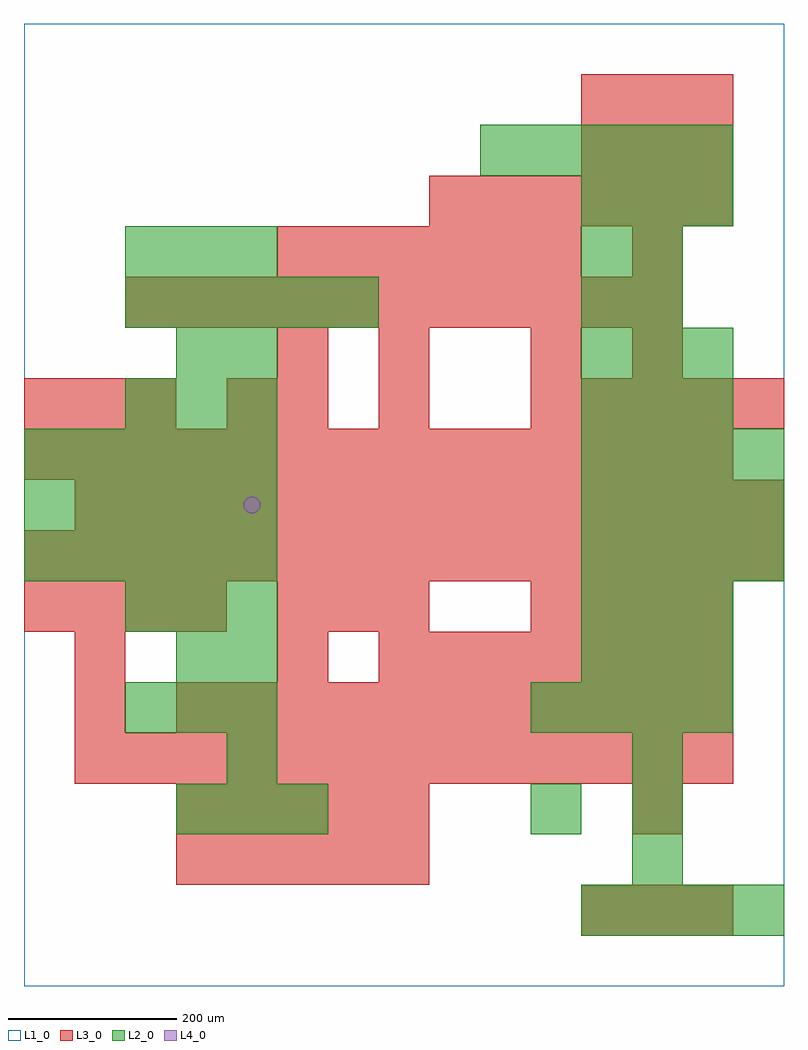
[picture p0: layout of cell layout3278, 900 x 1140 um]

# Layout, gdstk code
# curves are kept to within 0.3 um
import gdstk
lib = gdstk.Library(unit=1e-6, precision=1e-09)
def R(c, l, rs):  # rectangles x0, y0, x1, y1
    for r in rs: c.add(gdstk.rectangle(r[:2], r[2:], *l))
def A(c, l, x, y, w, h, nx, ny, dx, dy):  # array of equal rectangles
    R(c, l, [(x+i*dx, y+j*dy, x+i*dx+w, y+j*dy+h) for i in range(nx) for j in range(ny)])
def P(c, l, *ps):  # polygons
    for p in ps: c.add(gdstk.Polygon(p, *l))
L1_0 = (1, 0)
L2_0 = (2, 0)
L3_0 = (3, 0)
L4_0 = (4, 0)

layout3278 = lib.new_cell('layout3278')
R(layout3278, L1_0, [(0,0,900,1140)])
A(layout3278, L2_0, 660, 60, 60, 60, 4, 2, 60, 420)
A(layout3278, L2_0, 720, 120, 60, 60, 1, 3, 0, 60)
A(layout3278, L2_0, 180, 180, 60, 60, 3, 1, 60, 0)
A(layout3278, L2_0, 120, 300, 60, 60, 3, 2, 60, 120)
A(layout3278, L2_0, 600, 300, 60, 60, 4, 1, 60, 0)
A(layout3278, L2_0, 660, 360, 60, 60, 3, 2, 60, 60)
A(layout3278, L2_0, 0, 480, 60, 60, 5, 3, 60, 60)
A(layout3278, L2_0, 660, 540, 60, 60, 4, 2, 60, 60)
A(layout3278, L2_0, 120, 660, 60, 60, 3, 2, 60, 180)
A(layout3278, L2_0, 660, 660, 60, 60, 3, 2, 60, 60)
A(layout3278, L2_0, 120, 780, 60, 60, 5, 1, 60, 0)
A(layout3278, L2_0, 660, 900, 60, 60, 3, 1, 60, 0)
A(layout3278, L2_0, 540, 960, 60, 60, 5, 1, 60, 0)
R(layout3278, L2_0, [(600,180,660,240), (240,240,300,300), (180,360,240,420), (240,360,300,420), (180,720,240,780), (240,720,300,780), (660,780,720,840), (720,780,780,840), (660,840,720,900), (720,840,780,900)])
A(layout3278, L3_0, 660, 60, 60, 60, 3, 2, 60, 900)
A(layout3278, L3_0, 180, 120, 60, 60, 5, 2, 60, 60)
A(layout3278, L3_0, 60, 240, 60, 60, 13, 1, 60, 0)
A(layout3278, L3_0, 180, 300, 60, 60, 11, 1, 60, 0)
A(layout3278, L3_0, 420, 360, 60, 60, 7, 1, 60, 0)
A(layout3278, L3_0, 0, 420, 60, 60, 4, 1, 60, 0)
A(layout3278, L3_0, 300, 420, 60, 60, 3, 1, 60, 0)
A(layout3278, L3_0, 600, 420, 60, 60, 4, 1, 60, 0)
A(layout3278, L3_0, 0, 480, 60, 60, 15, 1, 60, 0)
A(layout3278, L3_0, 60, 540, 60, 60, 14, 1, 60, 0)
A(layout3278, L3_0, 0, 600, 60, 60, 14, 1, 60, 0)
A(layout3278, L3_0, 0, 660, 60, 60, 3, 1, 60, 0)
A(layout3278, L3_0, 600, 660, 60, 60, 5, 1, 60, 0)
A(layout3278, L3_0, 120, 780, 60, 60, 11, 1, 60, 0)
A(layout3278, L3_0, 300, 840, 60, 60, 6, 1, 60, 0)
A(layout3278, L3_0, 480, 900, 60, 60, 6, 1, 60, 0)
A(layout3278, L3_0, 660, 1020, 60, 60, 3, 1, 60, 0)
R(layout3278, L3_0, [(720,180,780,240), (60,300,120,360), (60,360,120,420), (300,360,360,420), (240,660,300,720), (300,660,360,720), (420,660,480,720), (300,720,360,780), (420,720,480,780), (600,720,660,780), (720,720,780,780), (720,840,780,900)])
P(layout3278, L4_0, [(280,570),(279.239,573.827),(277.071,577.071),(273.827,579.239),(270,580),(266.173,579.239),(262.929,577.071),(260.761,573.827),(260,570),(260.761,566.173),(262.929,562.929),(266.173,560.761),(270,560),(273.827,560.761),(277.071,562.929),(279.239,566.173)])

lib.write_gds('layout3278.gds')
